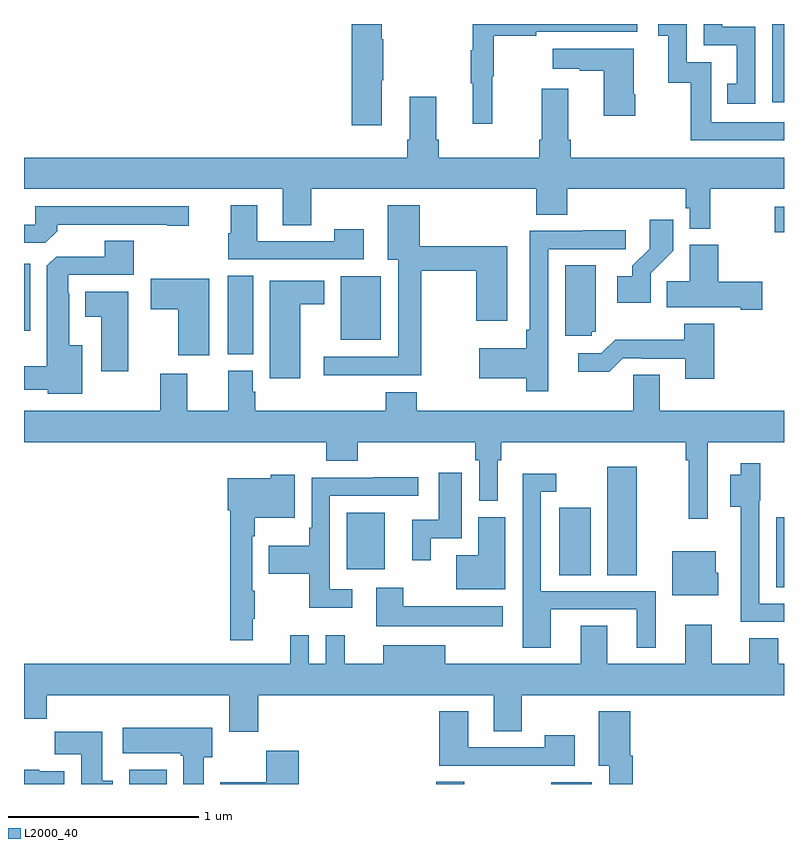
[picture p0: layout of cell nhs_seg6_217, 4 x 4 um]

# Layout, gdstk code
import gdstk
lib = gdstk.Library(unit=1e-6, precision=1e-09)
def R(c, l, rs):  # rectangles x0, y0, x1, y1
    for r in rs: c.add(gdstk.rectangle(r[:2], r[2:], *l))
def P(c, l, *ps):  # polygons
    for p in ps: c.add(gdstk.Polygon(p, *l))
L2000_40 = (2000, 40)

nhs_seg6_217 = lib.new_cell('nhs_seg6_217')
R(nhs_seg6_217, L2000_40, [(121.553,981.5,121.75,981.574), (123.17,981.5,123.316,981.512), (123.776,981.5,123.988,981.508), (124.958,982.536,125,982.905), (123.818,982.6,123.982,982.954), (124.07,982.6,124.225,983.17), (122.699,982.631,122.899,982.927), (122.072,983.761,122.206,984.176), (122.666,983.837,122.878,984.172), (121,983.885,121.033,984.238), (124.95,984.404,125,984.538), (124.938,985.089,125,985.5)])
P(nhs_seg6_217, L2000_40, [(122.884,985.204),(122.892,985.204),(122.892,985.421),(122.884,985.421),(122.884,985.5),(122.726,985.5),(122.726,984.966),(122.884,984.966)],
  [(124.848,985.485),(124.674,985.485),(124.674,985.5),(124.578,985.5),(124.578,985.389),(124.751,985.389),(124.751,985.185),(124.702,985.185),(124.702,985.08),(124.848,985.08)],
  [(125,984.984),(124.617,984.984),(124.617,985.299),(124.488,985.299),(124.488,985.5),(124.338,985.5),(124.338,985.437),(124.391,985.437),(124.391,985.191),(124.509,985.191),(124.509,984.888),(125,984.888)],
  [(123.464,985.224),(123.472,985.224),(123.472,985.438),(123.695,985.438),(123.695,985.458),(124.228,985.458),(124.228,985.5),(123.362,985.5),(123.362,985.361),(123.351,985.361),(123.351,985.187),(123.362,985.187),(123.362,984.975),(123.464,984.975)],
  [(124.218,985.129),(124.21,985.129),(124.21,985.369),(123.783,985.369),(123.783,985.265),(123.926,985.265),(123.926,985.255),(124.052,985.255),(124.052,985.017),(124.218,985.017)],
  [(124.612,984.632),(125,984.632),(125,984.796),(123.878,984.796),(123.878,984.892),(123.865,984.892),(123.865,985.159),(123.725,985.159),(123.725,984.892),(123.713,984.892),(123.713,984.796),(123.182,984.796),(123.182,984.892),(123.169,984.892),(123.169,985.117),(123.029,985.117),(123.029,984.892),(123.017,984.892),(123.017,984.796),(121,984.796),(121,984.632),(122.363,984.632),(122.363,984.442),(122.511,984.442),(122.511,984.632),(123.695,984.632),(123.695,984.496),(123.86,984.496),(123.86,984.632),(124.483,984.632),(124.483,984.531),(124.503,984.531),(124.503,984.422),(124.612,984.422)],
  [(122.788,984.421),(122.632,984.421),(122.632,984.357),(122.227,984.357),(122.227,984.547),(122.087,984.547),(122.087,984.399),(122.075,984.399),(122.075,984.261),(122.788,984.261)],
  [(123.09,984.202),(123.379,984.202),(123.379,983.937),(123.544,983.937),(123.544,984.331),(123.082,984.331),(123.082,984.547),(122.915,984.547),(122.915,984.26),(122.969,984.26),(122.969,983.748),(122.577,983.748),(122.577,983.651),(123.09,983.651)],
  [(121.175,984.41),(121.175,984.444),(121.754,984.444),(121.754,984.439),(121.867,984.439),(121.867,984.54),(121.059,984.54),(121.059,984.444),(121,984.444),(121,984.348),(121.113,984.348)],
  [(124.299,984.187),(124.418,984.306),(124.418,984.469),(124.293,984.469),(124.293,984.317),(124.202,984.227),(124.202,984.172),(124.122,984.172),(124.122,984.032),(124.299,984.032)],
  [(123.76,983.79),(123.759,983.79),(123.759,984.315),(124.168,984.315),(124.168,984.414),(123.943,984.414),(123.943,984.411),(123.663,984.411),(123.663,983.89),(123.643,983.89),(123.643,983.794),(123.396,983.794),(123.396,983.636),(123.643,983.636),(123.643,983.568),(123.76,983.568)],
  [(121.306,983.809),(121.237,983.809),(121.237,984.083),(121.233,984.083),(121.233,984.18),(121.577,984.18),(121.577,984.359),(121.424,984.359),(121.424,984.276),(121.17,984.276),(121.121,984.227),(121.121,983.698),(121,983.698),(121,983.576),(121.125,983.576),(121.125,983.555),(121.306,983.555)],
  [(124.885,984.143),(124.655,984.143),(124.655,984.337),(124.505,984.337),(124.505,984.146),(124.384,984.146),(124.384,984.008),(124.772,984.008),(124.772,983.996),(124.885,983.996)],
  [(123.987,983.88),(124.009,983.88),(124.009,984.229),(123.848,984.229),(123.848,983.859),(123.987,983.859)],
  [(121.975,984.16),(121.668,984.16),(121.668,983.998),(121.811,983.998),(121.811,983.757),(121.975,983.757)],
  [(122.455,984.026),(122.581,984.026),(122.581,984.148),(122.294,984.148),(122.294,983.636),(122.455,983.636)],
  [(121.549,984.091),(121.322,984.091),(121.322,983.96),(121.406,983.96),(121.406,983.673),(121.549,983.673)],
  [(124.634,983.923),(124.474,983.923),(124.474,983.839),(124.111,983.839),(124.038,983.766),(123.918,983.766),(123.918,983.669),(124.079,983.669),(124.152,983.742),(124.252,983.742),(124.252,983.739),(124.481,983.739),(124.481,983.634),(124.634,983.634)],
  [(124.599,983.3),(125,983.3),(125,983.464),(124.345,983.464),(124.345,983.654),(124.206,983.654),(124.206,983.464),(123.068,983.464),(123.068,983.563),(122.903,983.563),(122.903,983.464),(122.216,983.464),(122.216,983.565),(122.203,983.565),(122.203,983.676),(122.075,983.676),(122.075,983.464),(121.858,983.464),(121.858,983.659),(121.718,983.659),(121.718,983.464),(121,983.464),(121,983.3),(122.591,983.3),(122.591,983.201),(122.756,983.201),(122.756,983.3),(123.376,983.3),(123.376,983.204),(123.396,983.204),(123.396,982.992),(123.493,982.992),(123.493,983.204),(123.512,983.204),(123.512,983.3),(124.483,983.3),(124.483,983.204),(124.498,983.204),(124.498,982.896),(124.599,982.896)],
  [(125,982.449),(124.869,982.449),(124.869,982.992),(124.876,982.992),(124.876,983.188),(124.772,983.188),(124.772,983.128),(124.718,983.128),(124.718,982.958),(124.772,982.958),(124.772,982.722),(124.773,982.722),(124.773,982.353),(125,982.353)],
  [(123.142,982.794),(123.304,982.794),(123.304,983.137),(123.182,983.137),(123.182,982.89),(123.044,982.89),(123.044,982.677),(123.142,982.677)],
  [(123.772,982.419),(124.226,982.419),(124.226,982.218),(124.324,982.218),(124.324,982.515),(123.72,982.515),(123.72,983.037),(123.802,983.037),(123.802,983.134),(123.624,983.134),(123.624,982.218),(123.772,982.218)],
  [(122.204,982.369),(122.215,982.369),(122.215,982.517),(122.202,982.517),(122.202,982.805),(122.215,982.805),(122.215,982.901),(122.425,982.901),(122.425,983.128),(122.298,983.128),(122.298,983.11),(122.072,983.11),(122.072,982.94),(122.086,982.94),(122.086,982.257),(122.204,982.257)],
  [(122.728,982.524),(122.61,982.524),(122.61,983.016),(123.076,983.016),(123.076,983.114),(122.839,983.114),(122.839,983.112),(122.514,983.112),(122.514,982.849),(122.502,982.849),(122.502,982.753),(122.287,982.753),(122.287,982.606),(122.502,982.606),(122.502,982.427),(122.728,982.427)],
  [(123.532,982.903),(123.392,982.903),(123.392,982.705),(123.275,982.705),(123.275,982.526),(123.532,982.526)],
  [(124.654,982.611),(124.642,982.611),(124.642,982.726),(124.412,982.726),(124.412,982.493),(124.654,982.493)],
  [(123.52,982.435),(122.995,982.435),(122.995,982.534),(122.855,982.534),(122.855,982.331),(123.52,982.331)],
  [(122.234,981.968),(123.473,981.968),(123.473,981.778),(123.621,981.778),(123.621,981.968),(125,981.968),(125,982.132),(124.97,982.132),(124.97,982.268),(124.817,982.268),(124.817,982.132),(124.621,982.132),(124.621,982.339),(124.481,982.339),(124.481,982.132),(124.069,982.132),(124.069,982.334),(123.929,982.334),(123.929,982.132),(123.217,982.132),(123.217,982.231),(122.891,982.231),(122.891,982.132),(122.687,982.132),(122.687,982.282),(122.589,982.282),(122.589,982.132),(122.499,982.132),(122.499,982.282),(122.402,982.282),(122.402,982.132),(121,982.132),(121,981.844),(121.121,981.844),(121.121,981.968),(122.081,981.968),(122.081,981.774),(122.234,981.774)],
  [(123.898,981.757),(123.742,981.757),(123.742,981.693),(123.337,981.693),(123.337,981.883),(123.185,981.883),(123.185,981.597),(123.898,981.597)],
  [(124.205,981.65),(124.192,981.65),(124.192,981.883),(124.025,981.883),(124.025,981.596),(124.079,981.596),(124.079,981.5),(124.205,981.5)],
  [(121.945,981.642),(121.99,981.642),(121.99,981.796),(121.521,981.796),(121.521,981.662),(121.825,981.662),(121.825,981.649),(121.838,981.649),(121.838,981.5),(121.945,981.5)],
  [(121.468,981.516),(121.411,981.516),(121.411,981.775),(121.162,981.775),(121.162,981.656),(121.301,981.656),(121.301,981.5),(121.468,981.5)],
  [(122.447,981.676),(122.276,981.676),(122.276,981.508),(122.033,981.508),(122.033,981.5),(122.447,981.5)],
  [(121.213,981.568),(121.08,981.568),(121.08,981.574),(121,981.574),(121,981.5),(121.213,981.5)])

lib.write_gds('nhs_seg6_217.gds')
